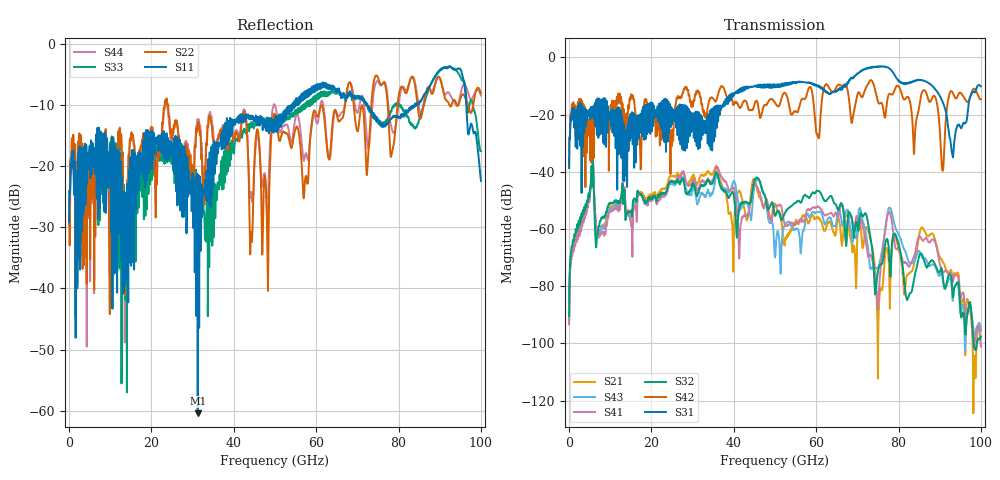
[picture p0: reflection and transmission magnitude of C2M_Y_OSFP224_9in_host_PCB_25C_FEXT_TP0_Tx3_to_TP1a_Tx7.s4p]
# GHz S RI R 45
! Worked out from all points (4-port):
!   4000 points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, 25 MHz to 100 GHz, reference 45 ohm
!   strongest paths, dB at 25 MHz, 25.02 GHz, 50.02 GHz, 75.03 GHz, 100 GHz:
!     S31: -38.7, -23.4, -10.5, -3.3, -10.1
!     S42: -38.2, -30.2, -15.9, -15.6, -14.6
!     S32: -90.4, -43.4, -55.3, -74.7, -97.6
!     S41: -93.3, -43.0, -51.7, -86.8, -101.1
!     S43: -92.4, -44.3, -70.0, -73.5, -95.0
!     S21: -91.9, -41.3, -51.2, -102.4, -95.7
!   lowest |S11| = -60.4 dB at 31.25 GHz (marker M1), VSWR 1.00, Z = 44.9 + j0.0517 ohm
!   |S11| at or under -10 dB: start of sweep to 53.97 GHz; 72.48 GHz to 83.97 GHz (11.5 GHz wide, 14.7 % of centre); 96.43 GHz to end of sweep (the widest 3 of 11)
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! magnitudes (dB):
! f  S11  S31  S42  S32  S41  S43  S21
! 25 MHz  -29.2  -38.7  -38.2  -90.4  -93.3  -92.4  -91.9
! 5.55 GHz  -21.3  -19.6  -21.6  -40.8  -40.9  -40.9  -40.7
! 31.25 GHz  -60.4  -20.2  -11.6  -47.7  -46.2  -50.7  -43.8
! 75.08 GHz  -12.4  -3.3  -15.8  -74.3  -85.7  -73.3  -95.1
! 86.25 GHz  -8.3  -8.2  -11.5  -71.2  -63.7  -70.2  -60.6
! 90.67 GHz  -4.1  -15.5  -39.5  -76.0  -75.1  -77.0  -71.3
! 100 GHz  -22.4  -10.1  -14.6  -97.6  -101.1  -95.0  -95.7
